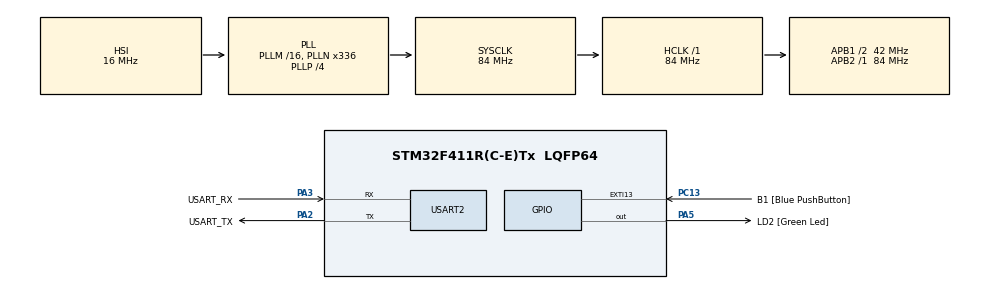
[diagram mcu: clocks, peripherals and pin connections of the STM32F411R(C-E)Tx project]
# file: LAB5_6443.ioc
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Dma.Request0=USART2_TX
Dma.USART2_TX.0.Direction=DMA_MEMORY_TO_PERIPH
Dma.USART2_TX.0.FIFOMode=DMA_FIFOMODE_DISABLE
Dma.USART2_TX.0.Instance=DMA1_Stream6
Dma.USART2_TX.0.MemDataAlignment=DMA_MDATAALIGN_BYTE
Dma.USART2_TX.0.MemInc=DMA_MINC_ENABLE
Dma.USART2_TX.0.Mode=DMA_NORMAL
Dma.USART2_TX.0.PeriphDataAlignment=DMA_PDATAALIGN_BYTE
Dma.USART2_TX.0.PeriphInc=DMA_PINC_DISABLE
Dma.USART2_TX.0.Priority=DMA_PRIORITY_LOW
Mcu.Family=STM32F4
Mcu.Name=STM32F411R(C-E)Tx
Mcu.Package=LQFP64
NVIC.DMA1_Stream6_IRQn=true\:0\:0\:false\:false\:true\:false\:true\:true
NVIC.EXTI15_10_IRQn=true\:0\:0\:false\:false\:true\:true\:true\:true
NVIC.PriorityGroup=NVIC_PRIORITYGROUP_0
NVIC.USART2_IRQn=true\:0\:0\:false\:false\:true\:true\:true\:true
PA13.GPIO_Label=TMS
PA13.Mode=Serial_Wire
PA13.Signal=SYS_JTMS-SWDIO
PA14.GPIO_Label=TCK
PA14.Mode=Serial_Wire
PA14.Signal=SYS_JTCK-SWCLK
PA2.GPIO_Label=USART_TX
PA2.Mode=Asynchronous
PA2.Signal=USART2_TX
PA3.GPIO_Label=USART_RX
PA3.Mode=Asynchronous
PA3.Signal=USART2_RX
PA5.GPIO_Label=LD2 [Green Led]
PA5.Signal=GPIO_Output
PB3.GPIO_Label=SWO
PB3.Signal=SYS_JTDO-SWO
PC13-ANTI_TAMP.GPIO_Label=B1 [Blue PushButton]
PC13-ANTI_TAMP.GPIO_ModeDefaultEXTI=GPIO_MODE_IT_FALLING
PC13-ANTI_TAMP.Signal=GPXTI13
PC14-OSC32_IN.Mode=LSE-External-Oscillator
PC14-OSC32_IN.Signal=RCC_OSC32_IN
PC15-OSC32_OUT.Mode=LSE-External-Oscillator
PC15-OSC32_OUT.Signal=RCC_OSC32_OUT
PH0\ -\ OSC_IN.Mode=HSE-External-Clock-Source
PH0\ -\ OSC_IN.Signal=RCC_OSC_IN
PH1\ -\ OSC_OUT.Mode=HSE-External-Clock-Source
PH1\ -\ OSC_OUT.Signal=RCC_OSC_OUT
ProjectManager.HeapSize=0x200
ProjectManager.StackSize=0x400
ProjectManager.TargetToolchain=STM32CubeIDE
RCC.48MHZClocksFreq_Value=84000000
RCC.AHBFreq_Value=84000000
RCC.APB1CLKDivider=RCC_HCLK_DIV2
RCC.APB1Freq_Value=42000000
RCC.APB1TimFreq_Value=84000000
RCC.APB2Freq_Value=84000000
RCC.APB2TimFreq_Value=84000000
RCC.CortexFreq_Value=84000000
RCC.FLatency-AdvancedSettings=FLASH_LATENCY_2
RCC.HCLKFreq_Value=84000000
RCC.HSE_VALUE=8000000
RCC.HSI_VALUE=16000000
RCC.PLLN=336
RCC.PLLP=RCC_PLLP_DIV4
RCC.SYSCLKFreq_VALUE=84000000
RCC.SYSCLKSource=RCC_SYSCLKSOURCE_PLLCLK
RCC.VCOOutputFreq_Value=336000000
USART2.VirtualMode=VM_ASYNC
board=NUCLEO-F411RE

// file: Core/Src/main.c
/* USER CODE BEGIN Header */
/**
  ******************************************************************************
  * @file           : main.c
  * @brief          : Main program body
  ******************************************************************************
  * @attention
  *
  * Copyright (c) 2023 STMicroelectronics.
  * All rights reserved.
  *
  * This software is licensed under terms that can be found in the LICENSE file
  * in the root directory of this software component.
  * If no LICENSE file comes with this software, it is provided AS-IS.
  *
  ******************************************************************************
  */
/* USER CODE END Header */
#include "main.h"

/* USER CODE BEGIN Includes */
#include "stdio.h"
#include "string.h"
/* USER CODE END Includes */

UART_HandleTypeDef huart2;
DMA_HandleTypeDef hdma_usart2_tx;

/* USER CODE BEGIN PV */
uint8_t RxBuffer[1];
uint8_t TxBuffer[152];
uint8_t Response[40];
int Period = 1 ;
int Buttonstate = 0;
int Button_C = 0;
int Counter = 0;
int LED_OnOff = 1;
/* USER CODE END PV */

void SystemClock_Config(void);
static void MX_GPIO_Init(void);
static void MX_DMA_Init(void);
static void MX_USART2_UART_Init(void);
/* USER CODE BEGIN PFP */
void UARTInterruptConfig();
/* USER CODE END PFP */

int main(void)
{

  /* MCU Configuration--------------------------------------------------------*/

  /* Reset of all peripherals, Initializes the Flash interface and the Systick. */
  HAL_Init();

  /* Configure the system clock */
  SystemClock_Config();

  /* Initialize all configured peripherals */
  MX_GPIO_Init();
  MX_DMA_Init();
  MX_USART2_UART_Init();
  /* USER CODE BEGIN 2 */
  	UARTInterruptConfig();
	sprintf((char*)TxBuffer,"\r\n==========\r\n          \r\n a:Speed Up +1Hz\r\n s:Speed Down -1Hz\r\n d:On/Off\r\n x:back\r\n==========\r\n               \r\n==========\r\n");
	HAL_UART_Transmit_DMA(&huart2, TxBuffer, strlen((char*)TxBuffer));
  /* USER CODE END 2 */

  /* Infinite loop */
  while (1)
  {

    /* USER CODE BEGIN 3 */
	  Button_C = HAL_GPIO_ReadPin(GPIOC, GPIO_PIN_13);
	  if(Buttonstate == 1){
		  if(Button_C == 1 && Counter == 0 ){
			  sprintf((char*)TxBuffer,"\r\n==========\r\n          \r\n          \r\n x:back\r\n Button status : Unpress\r\n          \r\n          \r\n==========\r\n");
			  HAL_UART_Transmit_DMA(&huart2, TxBuffer, strlen((char*)TxBuffer));
			  Counter = 1;
		  }
		  else if(Button_C == 0 && Counter == 1){
			  sprintf((char*)TxBuffer,"\r\n==========\r\n          \r\n          \r\n x:back\r\n Button status : Press\r\n          \r\n          \r\n==========\r\n");
			  HAL_UART_Transmit_DMA(&huart2, TxBuffer, strlen((char*)TxBuffer));
			  Counter = 2;
		  }
		  else if(Button_C == 1 && Counter == 2){
			  Counter = 0;
		  }
	  }

	  if(LED_OnOff == 1){
		  static uint32_t LEDstamp = 0;
		  if(HAL_GetTick()>=LEDstamp){
			  LEDstamp = HAL_GetTick()+(1000/Period);
			  HAL_GPIO_TogglePin(GPIOA, GPIO_PIN_5);
		  }
	  }
	  else if(LED_OnOff == 0){
		  HAL_GPIO_WritePin(GPIOA, GPIO_PIN_5, 0);
	  }
  }
  /* USER CODE END 3 */
}

void SystemClock_Config(void)
{
  RCC_OscInitTypeDef RCC_OscInitStruct = {0};
  RCC_ClkInitTypeDef RCC_ClkInitStruct = {0};

  /** Configure the main internal regulator output voltage
  */
  __HAL_RCC_PWR_CLK_ENABLE();
  __HAL_PWR_VOLTAGESCALING_CONFIG(PWR_REGULATOR_VOLTAGE_SCALE1);

  /** Initializes the RCC Oscillators according to the specified parameters
  * in the RCC_OscInitTypeDef structure.
  */
  RCC_OscInitStruct.OscillatorType = RCC_OSCILLATORTYPE_HSI;
  RCC_OscInitStruct.HSIState = RCC_HSI_ON;
  RCC_OscInitStruct.HSICalibrationValue = RCC_HSICALIBRATION_DEFAULT;
  RCC_OscInitStruct.PLL.PLLState = RCC_PLL_ON;
  RCC_OscInitStruct.PLL.PLLSource = RCC_PLLSOURCE_HSI;
  RCC_OscInitStruct.PLL.PLLM = 16;
  RCC_OscInitStruct.PLL.PLLN = 336;
  RCC_OscInitStruct.PLL.PLLP = RCC_PLLP_DIV4;
  RCC_OscInitStruct.PLL.PLLQ = 4;
  if (HAL_RCC_OscConfig(&RCC_OscInitStruct) != HAL_OK)
  {
    Error_Handler();
  }

  /** Initializes the CPU, AHB and APB buses clocks
  */
  RCC_ClkInitStruct.ClockType = RCC_CLOCKTYPE_HCLK|RCC_CLOCKTYPE_SYSCLK
                              |RCC_CLOCKTYPE_PCLK1|RCC_CLOCKTYPE_PCLK2;
  RCC_ClkInitStruct.SYSCLKSource = RCC_SYSCLKSOURCE_PLLCLK;
  RCC_ClkInitStruct.AHBCLKDivider = RCC_SYSCLK_DIV1;
  RCC_ClkInitStruct.APB1CLKDivider = RCC_HCLK_DIV2;
  RCC_ClkInitStruct.APB2CLKDivider = RCC_HCLK_DIV1;

  if (HAL_RCC_ClockConfig(&RCC_ClkInitStruct, FLASH_LATENCY_2) != HAL_OK)
  {
    Error_Handler();
  }
}

static void MX_USART2_UART_Init(void)
{

  huart2.Instance = USART2;
  huart2.Init.BaudRate = 115200;
  huart2.Init.WordLength = UART_WORDLENGTH_8B;
  huart2.Init.StopBits = UART_STOPBITS_1;
  huart2.Init.Parity = UART_PARITY_NONE;
  huart2.Init.Mode = UART_MODE_TX_RX;
  huart2.Init.HwFlowCtl = UART_HWCONTROL_NONE;
  huart2.Init.OverSampling = UART_OVERSAMPLING_16;
  if (HAL_UART_Init(&huart2) != HAL_OK)
  {
    Error_Handler();
  }

}

static void MX_DMA_Init(void)
{

  /* DMA controller clock enable */
  __HAL_RCC_DMA1_CLK_ENABLE();

  /* DMA interrupt init */
  /* DMA1_Stream6_IRQn interrupt configuration */
  HAL_NVIC_SetPriority(DMA1_Stream6_IRQn, 0, 0);
  HAL_NVIC_EnableIRQ(DMA1_Stream6_IRQn);

}

static void MX_GPIO_Init(void)
{
  GPIO_InitTypeDef GPIO_InitStruct = {0};

  /* GPIO Ports Clock Enable */
  __HAL_RCC_GPIOC_CLK_ENABLE();
  __HAL_RCC_GPIOH_CLK_ENABLE();
  __HAL_RCC_GPIOA_CLK_ENABLE();
  __HAL_RCC_GPIOB_CLK_ENABLE();

  /*Configure GPIO pin Output Level */
  HAL_GPIO_WritePin(LD2_GPIO_Port, LD2_Pin, GPIO_PIN_RESET);

  /*Configure GPIO pin : B1_Pin */
  GPIO_InitStruct.Pin = B1_Pin;
  GPIO_InitStruct.Mode = GPIO_MODE_IT_FALLING;
  GPIO_InitStruct.Pull = GPIO_NOPULL;
  HAL_GPIO_Init(B1_GPIO_Port, &GPIO_InitStruct);

  /*Configure GPIO pin : LD2_Pin */
  GPIO_InitStruct.Pin = LD2_Pin;
  GPIO_InitStruct.Mode = GPIO_MODE_OUTPUT_PP;
  GPIO_InitStruct.Pull = GPIO_NOPULL;
  GPIO_InitStruct.Speed = GPIO_SPEED_FREQ_LOW;
  HAL_GPIO_Init(LD2_GPIO_Port, &GPIO_InitStruct);

  /* EXTI interrupt init*/
  HAL_NVIC_SetPriority(EXTI15_10_IRQn, 0, 0);
  HAL_NVIC_EnableIRQ(EXTI15_10_IRQn);

}

/* USER CODE BEGIN 4 */
void UARTInterruptConfig(){
	HAL_UART_Receive_IT(&huart2, RxBuffer, 1);
}

void UARTDMAConfig(){
	HAL_UART_Receive_DMA(&huart2, RxBuffer, 1);
}

void HAL_UART_RxCpltCallback(UART_HandleTypeDef *huart){
	if(huart == &huart2){
		RxBuffer[1]='\0';
		static int state = 0;
		switch(state){
		case 0:
			if(RxBuffer[0] == 'a'){
				Period += 1;
				sprintf((char*)TxBuffer,"\r\n==========\r\n          \r\n a:Speed Up +1Hz\r\n s:Speed Down -1Hz\r\n d:On/Off\r\n x:back\r\n==========\r\n Speed Up +1 Hz\r\n==========\r\n");
				HAL_UART_Transmit_DMA(&huart2, TxBuffer, strlen((char*)TxBuffer));
			}
			else if(RxBuffer[0] == 's' && Period == 1){
				sprintf((char*)TxBuffer,"\r\n==========\r\n          \r\n a:Speed Up +1Hz\r\n s:Speed Down -1Hz\r\n d:On/Off\r\n x:back\r\n==========\r\n Now is Minimum Hz\r\n==========\r\n");
				HAL_UART_Transmit_DMA(&huart2, TxBuffer, strlen((char*)TxBuffer));
			}
			else if(RxBuffer[0] == 's'){
				Period -= 1 ;
				sprintf((char*)TxBuffer,"\r\n==========\r\n          \r\n a:Speed Up +1Hz\r\n s:Speed Down -1Hz\r\n d:On/Off\r\n x:back\r\n==========\r\n Speed Down -1 Hz\r\n==========\r\n");
				HAL_UART_Transmit_DMA(&huart2, TxBuffer, strlen((char*)TxBuffer));
			}
			else if(RxBuffer[0] == 'd' && LED_OnOff == 1){
				LED_OnOff = 0;
				RxBuffer[0] = 'p';
				sprintf((char*)TxBuffer,"\r\n==========\r\n          \r\n a:Speed Up +1Hz\r\n s:Speed Down -1Hz\r\n d:On/Off\r\n x:back\r\n==========\r\n LED : Off Hz\r\n==========\r\n");
				HAL_UART_Transmit_DMA(&huart2, TxBuffer, strlen((char*)TxBuffer));
			}
			else if(RxBuffer[0] == 'd' && LED_OnOff == 0){
				LED_OnOff = 1;
				RxBuffer[0] = 'p';
				sprintf((char*)TxBuffer,"\r\n==========\r\n          \r\n a:Speed Up +1Hz\r\n s:Speed Down -1Hz\r\n d:On/Off\r\n x:back\r\n==========\r\n LED : On Hz\r\n==========\r\n");
				HAL_UART_Transmit_DMA(&huart2, TxBuffer, strlen((char*)TxBuffer));
			}
			else if(RxBuffer[0] == 'x'){
				sprintf((char*)TxBuffer,"\r\n==========\r\n          \r\n          \r\n x:back\r\n Button status : Unpress\r\n          \r\n          \r\n==========\r\n");
				HAL_UART_Transmit_DMA(&huart2, TxBuffer, strlen((char*)TxBuffer));
				Buttonstate = 1;
				state = 1;
			}
			else{
				sprintf((char*)TxBuffer,"\r\n==========\r\n          \r\n a:Speed Up +1Hz\r\n s:Speed Down -1Hz\r\n d:On/Off\r\n x:back\r\n==========\r\n Error \r\n=========\r\n");
				HAL_UART_Transmit_DMA(&huart2, TxBuffer, strlen((char*)TxBuffer));
			}
			break;
		case 1:
			if(RxBuffer[0] == 'x'){
				sprintf((char*)TxBuffer,"\r\n==========\r\n          \r\n a:Speed Up +1Hz\r\n s:Speed Down -1Hz\r\n d:On/Off\r\n x:back\r\n==========\r\n               \r\n==========\r\n");
				HAL_UART_Transmit_DMA(&huart2, TxBuffer, strlen((char*)TxBuffer));
				Buttonstate = 0;
				state = 0;
			}
			break;
		}
		HAL_UART_Receive_IT(&huart2, RxBuffer, 1);
	}
}

/* USER CODE END 4 */

void Error_Handler(void)
{
  __disable_irq();
  while (1)
  {
  }
}
